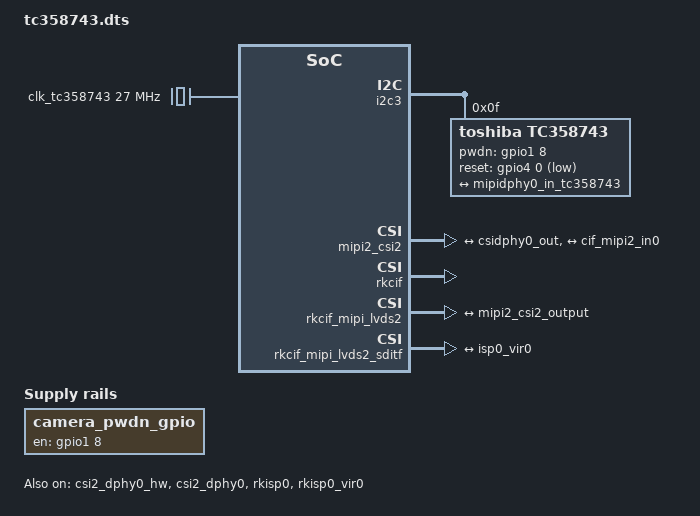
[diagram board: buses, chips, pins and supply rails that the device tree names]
/dts-v1/;
/plugin/;


/ {
	metadata {
		title = "Enable TC358743 HDMI-In on CAM0";
		compatible = "radxa,rock-5b", "radxa,rock-5b-plus"; 
		category = "camera";
		exclusive = "csi2_dphy0";
		description = "Enable TC358743 HDMI-to-CSI bridge on CAM0 (4-Lane).";
	};
};

&{/} {
	clk_tc358743: external-tc358743-clock {
		status = "okay";
		compatible = "fixed-clock";
		clock-frequency = <27000000>;
		clock-output-names = "clk_tc358743";
		#clock-cells = <0>;
	};
	camera_pwdn_gpio: camera-pwdn-gpio {
		status = "okay";
		compatible = "regulator-fixed";
		regulator-name = "tc358743_power";
		regulator-always-on;
		regulator-boot-on;
		enable-active-high;
		gpio = <&gpio1 8 0>;
	};

};


&i2c3 {
	status = "okay";
	#address-cells = <1>;
	#size-cells = <0>;

	tc358743: tc358743@0f {
		compatible = "toshiba,tc358743";
		reg = <0x0f>;
		clocks = <&clk_tc358743>;
		//clocks = <&cru 361>;
		status = "okay";
		//clocks = <&hdmi_osc>;
		clock-names = "refclk";

		pinctrl-names = "default";
        	pinctrl-0 = <&mipi_mclk0_pin>;

		rockchip,camera-module-index = <0>;
		rockchip,camera-module-facing = "back";
		rockchip,camera-module-name = "tc358743";
		rockchip,camera-module-lens-name = "default";

/*
		rockchip,lineinitcnt = <0x0e80>;
		rockchip,lptxtimecnt = <3>;
		rockchip,tclk-headercnt = <0x1408>;
		rockchip,tclk-trailcnt = <10>;
		rockchip,ths-headercnt = <0x0C06>;
		rockchip,twakeup = <0x4882>;
		rockchip,tclk-postcnt = <12>;
		rockchip,ths-trailcnt = <10>;
		rockchip,hstxvregcnt = <0>;
*/		
		pwdn-gpios = <&gpio1 8 0>;
		reset-gpios = <&gpio4 0 1>;
		power-domains = <&power 9>;
  		//interrupt-parent = <&gpio4>;
		//interrupts = <0 8>;
		//vin-supply = <&camera_pwdn_gpio>;

		port {
			tc358743_out: endpoint {
				remote-endpoint = <&mipidphy0_in_tc358743>;
				data-lanes = <1 2>;
				clock-lanes = <0>;
				clock-noncontinuous;
				link-frequencies = /bits/ 64 <297000000>; // 594000000  297000000
			};
		};
	};
};

&csi2_dphy0_hw {
	status = "okay";
};

&csi2_dphy0 {
	status = "okay";

	ports {
		#address-cells = <1>;
		#size-cells = <0>;

		port@0 {
			reg = <0>;
			#address-cells = <1>;
			#size-cells = <0>;

			mipidphy0_in_tc358743: endpoint@0 {
				reg = <0>; 
				remote-endpoint = <&tc358743_out>;
				data-lanes = <1 2>; 
			};
		};

		port@1 {
			reg = <1>;
			#address-cells = <1>;
			#size-cells = <0>;

			csidphy0_out: endpoint@0 {
				reg = <0>;
				remote-endpoint = <&mipi2_csi2_input>;
			};
		};
	};
};

&mipi2_csi2 {
	status = "okay";

	ports {
		#address-cells = <1>;
		#size-cells = <0>;

		port@0 {
			reg = <0>;
			#address-cells = <1>;
			#size-cells = <0>;

			mipi2_csi2_input: endpoint@1 {
				reg = <1>;
				remote-endpoint = <&csidphy0_out>;
			};
		};

		port@1 {
			reg = <1>;
			#address-cells = <1>;
			#size-cells = <0>;

			mipi2_csi2_output: endpoint@0 {
				reg = <0>;
				remote-endpoint = <&cif_mipi2_in0>;
			};
		};
	};
};

&rkcif {
	status = "okay";
};

&rkcif_mipi_lvds2 {
	status = "okay";

	port {
		cif_mipi2_in0: endpoint {
			remote-endpoint = <&mipi2_csi2_output>;
		};
	};
};

&rkcif_mipi_lvds2_sditf {
	status = "okay";
	port {
		mipi_lvds2_sditf: endpoint {
			remote-endpoint = <&isp0_vir0>;
		};
	};
};

&rkcif_mmu { status = "okay"; };
&isp0_mmu { status = "okay"; };
&rkisp0 { status = "okay"; };

&rkisp0_vir0 {
	status = "okay";
	port {
		#address-cells = <1>;
		#size-cells = <0>;

		isp0_vir0: endpoint@0 {
			reg = <0>;
			remote-endpoint = <&mipi_lvds2_sditf>;
		};
	};
};

&pinctrl {
    cam_mclk {
        mipi_mclk0_pin: mipi-mclk0-pin {
            rockchip,pins = <1 30 1 &pcfg_pull_none>;
        };
    };
};

